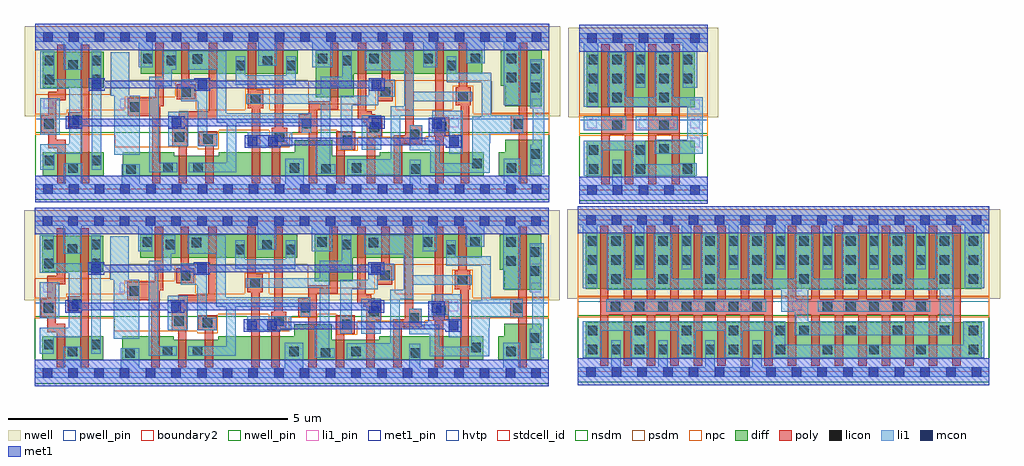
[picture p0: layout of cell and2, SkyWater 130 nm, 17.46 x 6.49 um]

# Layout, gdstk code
import gdstk
lib = gdstk.Library(unit=1e-6, precision=1e-09)
def R(c, l, rs):  # rectangles x0, y0, x1, y1
    for r in rs: c.add(gdstk.rectangle(r[:2], r[2:], *l))
def A(c, l, x, y, w, h, nx, ny, dx, dy):  # array of equal rectangles
    R(c, l, [(x+i*dx, y+j*dy, x+i*dx+w, y+j*dy+h) for i in range(nx) for j in range(ny)])
def P(c, l, *ps):  # polygons
    for p in ps: c.add(gdstk.Polygon(p, *l))
nwell_pin = (64, 16)
nwell = (64, 20)
diff = (65, 20)
poly = (66, 20)
licon = (66, 44)
li1_pin = (67, 16)
li1 = (67, 20)
mcon = (67, 44)
met1_pin = (68, 16)
met1 = (68, 20)
hvtp = (78, 44)
stdcell_id = (81, 4)
nsdm = (93, 44)
psdm = (94, 20)
npc = (95, 20)
pwell_pin = (122, 16)
boundary2 = (236, 0)

sky130_fd_sc_hd__nand2_2 = lib.new_cell('sky130_fd_sc_hd__nand2_2')
R(sky130_fd_sc_hd__nand2_2, nwell_pin, [(0.15,2.635,0.32,2.805)])
R(sky130_fd_sc_hd__nand2_2, nwell, [(-0.19,1.305,2.49,2.91)])
R(sky130_fd_sc_hd__nand2_2, diff, [(0.135,0.235,2.065,0.885), (0.135,1.485,2.065,2.485)])
P(sky130_fd_sc_hd__nand2_2, poly, [(1.805,2.615),(1.655,2.615),(1.655,1.325),(1.385,1.325),(1.385,2.615),(1.235,2.615),(1.235,0.105),(1.385,0.105),(1.385,0.995),(1.655,0.995),(1.655,0.105),(1.805,0.105)],
  [(0.965,2.615),(0.815,2.615),(0.815,1.325),(0.545,1.325),(0.545,2.615),(0.395,2.615),(0.395,0.105),(0.545,0.105),(0.545,0.995),(0.815,0.995),(0.815,0.105),(0.965,0.105)])
A(sky130_fd_sc_hd__nand2_2, licon, 0.175, 0.295, 0.17, 0.17, 3, 1, 0.42, 0)
A(sky130_fd_sc_hd__nand2_2, licon, 0.175, 1.915, 0.17, 0.17, 5, 2, 0.42, 0.34)
R(sky130_fd_sc_hd__nand2_2, licon, [(1.855,0.295,2.025,0.465), (0.175,0.635,0.345,0.805), (1.015,0.635,1.185,0.805), (1.435,0.655,1.605,0.825), (0.595,1.075,0.765,1.245), (1.435,1.075,1.605,1.245), (0.175,1.575,0.345,1.745), (0.595,1.575,0.765,1.745), (1.435,1.575,1.605,1.745)])
A(sky130_fd_sc_hd__nand2_2, li1_pin, 0.15, 1.105, 0.17, 0.17, 5, 1, 0.46, 0)
R(sky130_fd_sc_hd__nand2_2, li1_pin, [(1.99,0.765,2.16,0.935), (1.99,1.445,2.16,1.615)])
R(sky130_fd_sc_hd__nand2_2, li1, [(0.085,1.075,0.845,1.325), (1.015,1.075,1.765,1.325)])
P(sky130_fd_sc_hd__nand2_2, li1, [(2.3,0.085),(0.765,0.085),(0.765,0.545),(0.595,0.545),(0.595,0.085),(0,0.085),(0,-0.085),(2.3,-0.085)],
  [(2.3,2.805),(0,2.805),(0,2.635),(0.085,2.635),(0.085,1.495),(0.345,1.495),(0.345,2.635),(1.015,2.635),(1.015,1.835),(1.185,1.835),(1.185,2.635),(1.855,2.635),(1.855,1.835),(2.11,1.835),(2.11,2.635),(2.3,2.635)],
  [(2.105,0.485),(1.775,0.485),(1.775,0.465),(1.185,0.465),(1.185,0.885),(0.085,0.885),(0.085,0.255),(0.425,0.255),(0.425,0.715),(0.935,0.715),(0.935,0.255),(2.105,0.255)],
  [(2.215,1.665),(1.685,1.665),(1.685,2.465),(1.355,2.465),(1.355,1.665),(0.845,1.665),(0.845,2.465),(0.515,2.465),(0.515,1.495),(1.935,1.495),(1.935,0.905),(1.355,0.905),(1.355,0.655),(2.215,0.655)])
A(sky130_fd_sc_hd__nand2_2, mcon, 0.145, -0.085, 0.17, 0.17, 5, 2, 0.46, 2.72)
R(sky130_fd_sc_hd__nand2_2, met1_pin, [(0.15,-0.085,0.32,0.085), (0.15,2.635,0.32,2.805)])
R(sky130_fd_sc_hd__nand2_2, hvtp, [(0,1.25,2.3,2.72)])
R(sky130_fd_sc_hd__nand2_2, stdcell_id, [(0,0,2.3,2.72)])
R(sky130_fd_sc_hd__nand2_2, nsdm, [(0,-0.19,2.3,1.015)])
R(sky130_fd_sc_hd__nand2_2, psdm, [(0,1.355,2.3,2.91)])
R(sky130_fd_sc_hd__nand2_2, npc, [(0,0.975,2.3,1.345)])
R(sky130_fd_sc_hd__nand2_2, pwell_pin, [(0.15,-0.085,0.32,0.085)])
R(sky130_fd_sc_hd__nand2_2, boundary2, [(0,0,2.3,2.72)])
sky130_fd_sc_hd__nand2_2.add(gdstk.FlexPath([(0,2.72),(2.3,2.72)], 0.48, ends="flush", simple_path=True, layer=68, datatype=20))  # met1
sky130_fd_sc_hd__nand2_2.add(gdstk.FlexPath([(0,0),(2.3,0)], 0.48, ends="flush", simple_path=True, layer=68, datatype=20))  # met1
sky130_fd_sc_hd__nand2_2.add(gdstk.Label('Y', (2.075,0.85), layer=67, texttype=5))
sky130_fd_sc_hd__nand2_2.add(gdstk.Label('Y', (2.075,1.19), layer=67, texttype=5))
sky130_fd_sc_hd__nand2_2.add(gdstk.Label('Y', (2.075,1.53), layer=67, texttype=5))
sky130_fd_sc_hd__nand2_2.add(gdstk.Label('A', (1.615,1.19), layer=67, texttype=5))
sky130_fd_sc_hd__nand2_2.add(gdstk.Label('B', (0.695,1.19), layer=67, texttype=5))
sky130_fd_sc_hd__nand2_2.add(gdstk.Label('VPB', (0.23,2.72), layer=64, texttype=5))
sky130_fd_sc_hd__nand2_2.add(gdstk.Label('VNB', (0.23,0), layer=64, texttype=59))
sky130_fd_sc_hd__nand2_2.add(gdstk.Label('VGND', (0.23,0), layer=68, texttype=5))
sky130_fd_sc_hd__nand2_2.add(gdstk.Label('VPWR', (0.23,2.72), layer=68, texttype=5))
sky130_fd_sc_hd__nand2_2.add(gdstk.Label('nand2_2', (0,0), layer=83, texttype=44))

sky130_fd_sc_hd__nand2_8 = lib.new_cell('sky130_fd_sc_hd__nand2_8')
R(sky130_fd_sc_hd__nand2_8, nwell_pin, [(0.15,2.635,0.32,2.805)])
R(sky130_fd_sc_hd__nand2_8, nwell, [(-0.19,1.305,7.55,2.91)])
R(sky130_fd_sc_hd__nand2_8, diff, [(0.135,0.235,7.225,0.885), (0.135,1.485,7.225,2.485)])
P(sky130_fd_sc_hd__nand2_8, poly, [(3.485,2.615),(3.335,2.615),(3.335,1.295),(3.065,1.295),(3.065,2.615),(2.915,2.615),(2.915,1.295),(2.645,1.295),(2.645,2.615),(2.495,2.615),(2.495,1.295),(2.225,1.295),(2.225,2.615),(2.075,2.615),(2.075,1.295),(1.805,1.295),(1.805,2.615),(1.655,2.615),(1.655,1.295),(1.385,1.295),(1.385,2.615),(1.235,2.615),(1.235,1.295),(0.965,1.295),(0.965,2.615),(0.815,2.615),(0.815,1.295),(0.545,1.295),(0.545,2.615),(0.395,2.615),(0.395,0.105),(0.545,0.105),(0.545,1.025),(0.815,1.025),(0.815,0.105),(0.965,0.105),(0.965,1.025),(1.235,1.025),(1.235,0.105),(1.385,0.105),(1.385,1.025),(1.655,1.025),(1.655,0.105),(1.805,0.105),(1.805,1.025),(2.075,1.025),(2.075,0.105),(2.225,0.105),(2.225,1.025),(2.495,1.025),(2.495,0.105),(2.645,0.105),(2.645,1.025),(2.915,1.025),(2.915,0.105),(3.065,0.105),(3.065,1.025),(3.335,1.025),(3.335,0.105),(3.485,0.105)],
  [(6.845,2.615),(6.695,2.615),(6.695,1.295),(6.425,1.295),(6.425,2.615),(6.275,2.615),(6.275,1.295),(6.005,1.295),(6.005,2.615),(5.855,2.615),(5.855,1.295),(5.585,1.295),(5.585,2.615),(5.435,2.615),(5.435,1.295),(5.165,1.295),(5.165,2.615),(5.015,2.615),(5.015,1.295),(4.745,1.295),(4.745,2.615),(4.595,2.615),(4.595,1.295),(4.325,1.295),(4.325,2.615),(4.175,2.615),(4.175,1.295),(3.905,1.295),(3.905,2.615),(3.755,2.615),(3.755,0.105),(3.905,0.105),(3.905,1.025),(4.175,1.025),(4.175,0.105),(4.325,0.105),(4.325,1.025),(4.595,1.025),(4.595,0.105),(4.745,0.105),(4.745,1.025),(5.015,1.025),(5.015,0.105),(5.165,0.105),(5.165,1.025),(5.435,1.025),(5.435,0.105),(5.585,0.105),(5.585,1.025),(5.855,1.025),(5.855,0.105),(6.005,0.105),(6.005,1.025),(6.275,1.025),(6.275,0.105),(6.425,0.105),(6.425,1.025),(6.695,1.025),(6.695,0.105),(6.845,0.105)])
A(sky130_fd_sc_hd__nand2_8, licon, 0.175, 0.315, 0.17, 0.17, 9, 1, 0.42, 0)
A(sky130_fd_sc_hd__nand2_8, licon, 4.375, 0.315, 0.17, 0.17, 3, 1, 0.84, 0)
A(sky130_fd_sc_hd__nand2_8, licon, 0.175, 0.655, 0.17, 0.17, 5, 1, 0.84, 0)
A(sky130_fd_sc_hd__nand2_8, licon, 3.955, 0.655, 0.17, 0.17, 4, 1, 0.84, 0)
A(sky130_fd_sc_hd__nand2_8, licon, 1.015, 1.075, 0.17, 0.17, 6, 1, 0.42, 0)
A(sky130_fd_sc_hd__nand2_8, licon, 4.375, 1.075, 0.17, 0.17, 5, 1, 0.42, 0)
A(sky130_fd_sc_hd__nand2_8, licon, 0.595, 1.575, 0.17, 0.17, 8, 1, 0.84, 0)
A(sky130_fd_sc_hd__nand2_8, licon, 6.995, 1.575, 0.17, 0.17, 1, 3, 0, 0.34)
A(sky130_fd_sc_hd__nand2_8, licon, 0.175, 1.915, 0.17, 0.17, 16, 2, 0.42, 0.34)
R(sky130_fd_sc_hd__nand2_8, licon, [(6.995,0.315,7.165,0.485), (6.995,0.655,7.165,0.825), (0.59,1.075,0.76,1.245), (0.175,1.575,0.345,1.745)])
A(sky130_fd_sc_hd__nand2_8, li1_pin, 0.61, 1.105, 0.17, 0.17, 6, 1, 0.46, 0)
A(sky130_fd_sc_hd__nand2_8, li1_pin, 3.83, 1.105, 0.17, 0.17, 6, 1, 0.46, 0)
R(sky130_fd_sc_hd__nand2_8, li1_pin, [(3.83,1.445,4,1.615)])
R(sky130_fd_sc_hd__nand2_8, li1, [(0.51,1.075,3.365,1.295), (4.29,1.075,6.305,1.275)])
P(sky130_fd_sc_hd__nand2_8, li1, [(6.725,2.465),(6.475,2.465),(6.475,0.905),(4.12,0.905),(4.12,1.465),(6.475,1.465),(6.475,2.465),(6.395,2.465),(6.395,1.665),(5.885,1.665),(5.885,2.465),(5.555,2.465),(5.555,1.665),(5.045,1.665),(5.045,2.465),(4.715,2.465),(4.715,1.665),(4.205,1.665),(4.205,2.465),(3.875,2.465),(3.875,1.665),(3.365,1.665),(3.365,2.465),(3.035,2.465),(3.035,1.665),(2.525,1.665),(2.525,2.465),(2.195,2.465),(2.195,1.665),(1.685,1.665),(1.685,2.465),(1.355,2.465),(1.355,1.665),(0.845,1.665),(0.845,2.465),(0.515,2.465),(0.515,1.465),(3.64,1.465),(3.64,1.075),(3.875,1.075),(3.875,0.655),(6.725,0.655)],
  [(7.27,0.905),(6.895,0.905),(6.895,0.485),(3.705,0.485),(3.705,0.905),(0.09,0.905),(0.09,0.255),(0.425,0.255),(0.425,0.735),(0.935,0.735),(0.935,0.255),(1.265,0.255),(1.265,0.735),(1.775,0.735),(1.775,0.255),(2.105,0.255),(2.105,0.735),(2.615,0.735),(2.615,0.255),(2.945,0.255),(2.945,0.735),(3.455,0.735),(3.455,0.255),(7.27,0.255)],
  [(7.36,2.805),(0,2.805),(0,2.635),(0.09,2.635),(0.09,1.495),(0.345,1.495),(0.345,2.635),(1.015,2.635),(1.015,1.835),(1.185,1.835),(1.185,2.635),(1.855,2.635),(1.855,1.835),(2.025,1.835),(2.025,2.635),(2.695,2.635),(2.695,1.835),(2.865,1.835),(2.865,2.635),(3.535,2.635),(3.535,1.835),(3.705,1.835),(3.705,2.635),(4.375,2.635),(4.375,1.835),(4.545,1.835),(4.545,2.635),(5.215,2.635),(5.215,1.835),(5.385,1.835),(5.385,2.635),(6.055,2.635),(6.055,1.835),(6.225,1.835),(6.225,2.635),(6.915,2.635),(6.915,1.495),(7.27,1.495),(7.27,2.635),(7.36,2.635)],
  [(7.36,0.085),(3.285,0.085),(3.285,0.565),(3.115,0.565),(3.115,0.085),(2.445,0.085),(2.445,0.565),(2.275,0.565),(2.275,0.085),(1.605,0.085),(1.605,0.565),(1.435,0.565),(1.435,0.085),(0.765,0.085),(0.765,0.565),(0.595,0.565),(0.595,0.085),(0,0.085),(0,-0.085),(7.36,-0.085)])
A(sky130_fd_sc_hd__nand2_8, mcon, 0.145, -0.085, 0.17, 0.17, 16, 2, 0.46, 2.72)
R(sky130_fd_sc_hd__nand2_8, met1_pin, [(0.15,-0.085,0.32,0.085), (0.15,2.635,0.32,2.805)])
R(sky130_fd_sc_hd__nand2_8, hvtp, [(0,1.25,7.36,2.72)])
R(sky130_fd_sc_hd__nand2_8, stdcell_id, [(0,0,7.36,2.72)])
R(sky130_fd_sc_hd__nand2_8, nsdm, [(0,-0.19,7.36,1.015)])
R(sky130_fd_sc_hd__nand2_8, psdm, [(0,1.355,7.36,2.91)])
R(sky130_fd_sc_hd__nand2_8, npc, [(0,0.975,7.36,1.345)])
R(sky130_fd_sc_hd__nand2_8, pwell_pin, [(0.15,-0.085,0.32,0.085)])
R(sky130_fd_sc_hd__nand2_8, boundary2, [(0,0,7.36,2.72)])
sky130_fd_sc_hd__nand2_8.add(gdstk.FlexPath([(0,2.72),(7.36,2.72)], 0.48, ends="flush", simple_path=True, layer=68, datatype=20))  # met1
sky130_fd_sc_hd__nand2_8.add(gdstk.FlexPath([(0,0),(7.36,0)], 0.48, ends="flush", simple_path=True, layer=68, datatype=20))  # met1
sky130_fd_sc_hd__nand2_8.add(gdstk.Label('A', (5.295,1.19), layer=67, texttype=5))
sky130_fd_sc_hd__nand2_8.add(gdstk.Label('A', (4.835,1.19), layer=67, texttype=5))
sky130_fd_sc_hd__nand2_8.add(gdstk.Label('A', (4.375,1.19), layer=67, texttype=5))
sky130_fd_sc_hd__nand2_8.add(gdstk.Label('B', (2.995,1.19), layer=67, texttype=5))
sky130_fd_sc_hd__nand2_8.add(gdstk.Label('B', (1.155,1.19), layer=67, texttype=5))
sky130_fd_sc_hd__nand2_8.add(gdstk.Label('B', (0.695,1.19), layer=67, texttype=5))
sky130_fd_sc_hd__nand2_8.add(gdstk.Label('Y', (3.915,1.53), layer=67, texttype=5))
sky130_fd_sc_hd__nand2_8.add(gdstk.Label('Y', (3.915,1.19), layer=67, texttype=5))
sky130_fd_sc_hd__nand2_8.add(gdstk.Label('A', (6.215,1.19), layer=67, texttype=5))
sky130_fd_sc_hd__nand2_8.add(gdstk.Label('A', (5.755,1.19), layer=67, texttype=5))
sky130_fd_sc_hd__nand2_8.add(gdstk.Label('B', (2.535,1.19), layer=67, texttype=5))
sky130_fd_sc_hd__nand2_8.add(gdstk.Label('B', (2.075,1.19), layer=67, texttype=5))
sky130_fd_sc_hd__nand2_8.add(gdstk.Label('B', (1.615,1.19), layer=67, texttype=5))
sky130_fd_sc_hd__nand2_8.add(gdstk.Label('VNB', (0.235,0), layer=64, texttype=59))
sky130_fd_sc_hd__nand2_8.add(gdstk.Label('VPB', (0.235,2.72), layer=64, texttype=5))
sky130_fd_sc_hd__nand2_8.add(gdstk.Label('VGND', (0.235,0), layer=68, texttype=5))
sky130_fd_sc_hd__nand2_8.add(gdstk.Label('VPWR', (0.235,2.72), layer=68, texttype=5))
sky130_fd_sc_hd__nand2_8.add(gdstk.Label('nand2_8', (0,0), layer=83, texttype=44))

sky130_fd_sc_hd__dfrtp_1 = lib.new_cell('sky130_fd_sc_hd__dfrtp_1')
R(sky130_fd_sc_hd__dfrtp_1, nwell_pin, [(0.145,2.635,0.315,2.805)])
R(sky130_fd_sc_hd__dfrtp_1, nwell, [(-0.19,1.305,9.39,2.91)])
R(sky130_fd_sc_hd__dfrtp_1, diff, [(0.135,0.235,1.225,0.655), (0.135,1.815,1.225,2.455), (3.305,2.065,4.7,2.485)])
P(sky130_fd_sc_hd__dfrtp_1, diff, [(8,2.485),(5.015,2.485),(5.015,1.645),(5.695,1.645),(5.695,2.065),(8,2.065)],
  [(9.065,2.485),(8.325,2.485),(8.325,1.845),(8.405,1.845),(8.405,1.485),(9.065,1.485)],
  [(9.065,0.885),(8.405,0.885),(8.405,0.655),(8.295,0.655),(8.295,0.235),(9.065,0.235)],
  [(8.025,0.655),(6.165,0.655),(6.165,0.595),(5.315,0.595),(5.315,0.875),(4.645,0.875),(4.645,0.655),(3.285,0.655),(3.285,0.595),(2.49,0.595),(2.49,0.655),(1.565,0.655),(1.565,0.235),(8.025,0.235)],
  [(3.335,2.485),(1.89,2.485),(1.89,2.065),(3.33,2.065),(3.33,2.48),(3.335,2.48)])
R(sky130_fd_sc_hd__dfrtp_1, poly, [(3.875,0.105,4.025,1.515), (4.29,1.055,4.44,2.615), (3.805,1.445,4.08,1.775), (3.805,1.76,3.955,2.615)])
P(sky130_fd_sc_hd__dfrtp_1, poly, [(7.79,1.825),(7.73,1.825),(7.73,2.615),(7.58,2.615),(7.58,1.825),(7.52,1.825),(7.52,1.495),(7.615,1.495),(7.615,0.105),(7.765,0.105),(7.765,1.495),(7.79,1.495)],
  [(0.545,0.88),(0.38,0.88),(0.38,1.59),(0.545,1.59),(0.545,2.585),(0.395,2.585),(0.395,1.74),(0.23,1.74),(0.23,1.325),(0.11,1.325),(0.11,0.995),(0.23,0.995),(0.23,0.73),(0.395,0.73),(0.395,0.105),(0.545,0.105)],
  [(0.965,2.585),(0.815,2.585),(0.815,1.37),(0.59,1.37),(0.59,1.1),(0.815,1.1),(0.815,0.105),(0.965,0.105)],
  [(2.3,2.615),(2.15,2.615),(2.15,1.63),(1.655,1.63),(1.655,1.3),(2.09,1.3),(2.09,0.105),(2.24,0.105),(2.24,1.48),(2.3,1.48)],
  [(3.255,2.615),(3.105,2.615),(3.105,1.395),(2.565,1.395),(2.565,1.095),(2.45,1.095),(2.45,0.765),(2.565,0.765),(2.565,0.105),(2.715,0.105),(2.715,0.765),(2.72,0.765),(2.72,1.245),(3.255,1.245)],
  [(2.86,1.875),(2.76,1.875),(2.76,2.615),(2.61,2.615),(2.61,1.875),(2.53,1.875),(2.53,1.605),(2.86,1.605)],
  [(3.26,1.035),(2.93,1.035),(2.93,0.765),(3.045,0.765),(3.045,0.105),(3.195,0.105),(3.195,0.765),(3.26,0.765)],
  [(4.505,1.095),(4.235,1.095),(4.235,0.105),(4.385,0.105),(4.385,0.765),(4.505,0.765)],
  [(5.425,2.615),(5.275,2.615),(5.275,1.57),(4.895,1.57),(4.895,1.335),(4.715,1.335),(4.715,1.005),(4.895,1.005),(4.895,0.105),(5.045,0.105),(5.045,1.42),(5.425,1.42)],
  [(5.725,1.035),(5.39,1.035),(5.39,0.105),(5.54,0.105),(5.54,0.705),(5.725,0.705)],
  [(6.205,1.275),(6.085,1.275),(6.085,1.335),(6.02,1.335),(6.02,1.395),(5.92,1.395),(5.92,2.615),(5.77,2.615),(5.77,1.245),(5.875,1.245),(5.875,1.185),(5.935,1.185),(5.935,0.105),(6.085,0.105),(6.085,0.945),(6.205,0.945)],
  [(6.4,1.905),(6.35,1.905),(6.35,2.615),(6.2,2.615),(6.2,1.905),(6.13,1.905),(6.13,1.575),(6.4,1.575)],
  [(6.925,1.145),(6.77,1.145),(6.77,2.615),(6.62,2.615),(6.62,0.965),(6.415,0.965),(6.415,0.105),(6.565,0.105),(6.565,0.815),(6.925,0.815)],
  [(7.405,1.285),(7.31,1.285),(7.31,2.615),(7.16,2.615),(7.16,1.285),(7.135,1.285),(7.135,0.955),(7.16,0.955),(7.16,0.105),(7.31,0.105),(7.31,0.955),(7.405,0.955)],
  [(8.805,2.615),(8.655,2.615),(8.655,1.325),(8.51,1.325),(8.51,0.995),(8.655,0.995),(8.655,0.105),(8.805,0.105)])
R(sky130_fd_sc_hd__dfrtp_1, licon, [(1.625,0.275,1.795,0.445), (5.115,0.275,5.285,0.445), (6.725,0.275,6.895,0.445), (0.595,0.295,0.765,0.465), (4.555,0.295,4.725,0.465), (5.665,0.295,5.835,0.465), (8.435,0.295,8.605,0.465), (2.29,0.305,2.46,0.475), (2.825,0.305,2.995,0.475), (7.815,0.375,7.985,0.545), (0.175,0.425,0.345,0.595), (1.015,0.425,1.185,0.595), (8.855,0.545,9.025,0.715), (5.505,0.785,5.675,0.955), (3.01,0.815,3.18,0.985), (2.5,0.845,2.67,1.015), (4.285,0.845,4.455,1.015), (6.705,0.895,6.875,1.065), (5.985,1.025,6.155,1.195), (7.185,1.035,7.355,1.205), (0.16,1.075,0.33,1.245), (8.56,1.075,8.73,1.245), (4.765,1.085,4.935,1.255), (0.67,1.15,0.84,1.32), (1.705,1.38,1.875,1.55), (3.855,1.525,4.025,1.695), (7.57,1.575,7.74,1.745), (2.61,1.655,2.78,1.825), (6.18,1.655,6.35,1.825), (8.855,1.735,9.025,1.905), (0.175,1.875,0.345,2.045), (1.015,1.875,1.185,2.045), (8.435,1.915,8.605,2.085), (8.855,2.075,9.025,2.245), (3.585,2.125,3.755,2.295), (4.49,2.125,4.66,2.295), (7.36,2.125,7.53,2.295), (0.595,2.135,0.765,2.305), (4.07,2.205,4.24,2.375), (0.175,2.215,0.345,2.385), (1.015,2.215,1.185,2.385), (2.35,2.215,2.52,2.385), (5.495,2.215,5.665,2.385), (2.815,2.245,2.985,2.415), (5.98,2.25,6.15,2.42), (1.93,2.255,2.1,2.425), (5.055,2.255,5.225,2.425), (6.94,2.255,7.11,2.425), (7.79,2.255,7.96,2.425), (8.435,2.255,8.605,2.425)])
A(sky130_fd_sc_hd__dfrtp_1, li1_pin, 8.88, 1.445, 0.17, 0.17, 1, 3, 0, 0.34)
R(sky130_fd_sc_hd__dfrtp_1, li1_pin, [(8.88,0.425,9.05,0.595), (7.405,0.765,7.575,0.935), (0.15,1.105,0.32,1.275), (7.405,1.105,7.575,1.275), (0.15,1.445,0.32,1.615), (1.525,1.445,1.695,1.615)])
R(sky130_fd_sc_hd__dfrtp_1, li1, [(0,-0.085,9.2,0.085), (1.545,-0.03,1.875,0.445), (8.38,0.05,8.685,0.545), (4.475,0.055,4.805,0.545), (0.515,0.06,0.845,0.465), (6.705,0.065,6.895,0.525), (1.015,0.345,1.185,2.465), (1.415,0.615,1.875,1.665), (5.845,0.705,6.195,1.325), (2.385,0.765,2.735,1.385), (3.805,0.765,4.595,1.015), (0.09,0.975,0.44,1.625), (8.38,1.495,8.685,2.71), (3.775,1.525,5.13,1.695), (1.355,1.665,1.68,2.45), (0.515,2.135,0.845,2.665), (4.955,2.175,5.325,2.675), (6.94,2.175,7.19,2.69), (3.99,2.205,4.32,2.69), (7.71,2.255,8.04,2.7)])
P(sky130_fd_sc_hd__dfrtp_1, li1, [(0.84,1.965),(0.345,1.965),(0.345,2.465),(0.09,2.465),(0.09,1.795),(0.61,1.795),(0.61,0.805),(0.09,0.805),(0.09,0.345),(0.345,0.345),(0.345,0.635),(0.84,0.635)],
  [(2.54,0.475),(2.215,0.475),(2.215,1.835),(2.44,1.835),(2.44,2.135),(2.52,2.135),(2.52,2.465),(2.27,2.465),(2.27,2.005),(2.045,2.005),(2.045,0.305),(2.54,0.305)],
  [(3.26,0.985),(3.075,0.985),(3.075,1.965),(2.61,1.965),(2.61,1.575),(2.905,1.575),(2.905,0.765),(3.26,0.765)],
  [(4.935,1.355),(3.415,1.355),(3.415,2.465),(2.735,2.465),(2.735,2.135),(3.245,2.135),(3.245,1.185),(3.43,1.185),(3.43,0.475),(2.745,0.475),(2.745,0.305),(3.6,0.305),(3.6,1.185),(4.765,1.185),(4.765,1.005),(4.935,1.005)],
  [(9.11,2.325),(8.855,2.325),(8.855,1.445),(8.9,1.445),(8.9,0.795),(8.855,0.795),(8.855,0.265),(9.11,0.265)],
  [(5.665,2.465),(5.495,2.465),(5.495,2.005),(5.105,2.005),(5.105,0.835),(5.015,0.835),(5.015,0.275),(5.365,0.275),(5.365,0.445),(5.275,0.445),(5.275,1.835),(5.665,1.835)],
  [(6.43,1.955),(5.97,1.955),(5.97,1.665),(5.465,1.665),(5.465,0.705),(5.675,0.705),(5.675,1.495),(6.14,1.495),(6.14,1.655),(6.43,1.655)],
  [(7.645,1.405),(7.105,1.405),(7.105,1.035),(7.405,1.035),(7.405,0.635),(7.645,0.635)],
  [(7.82,1.745),(6.77,1.745),(6.77,2.465),(5.9,2.465),(5.9,2.125),(6.6,2.125),(6.6,1.485),(6.365,1.485),(6.365,0.535),(5.585,0.535),(5.585,0.255),(6.535,0.255),(6.535,1.315),(6.77,1.315),(6.77,1.575),(7.82,1.575)],
  [(9.2,2.805),(0,2.805),(0,2.635),(1.85,2.635),(1.85,2.175),(2.1,2.175),(2.1,2.635),(9.2,2.635)],
  [(8.73,1.325),(8.16,1.325),(8.16,2.085),(7.53,2.085),(7.53,2.375),(7.36,2.375),(7.36,1.915),(7.99,1.915),(7.99,1.295),(7.815,1.295),(7.815,0.465),(7.235,0.465),(7.235,0.865),(6.925,0.865),(6.925,1.145),(6.705,1.145),(6.705,0.695),(7.065,0.695),(7.065,0.295),(8.135,0.295),(8.135,0.82),(8.14,0.82),(8.14,0.995),(8.73,0.995)],
  [(4.66,2.375),(4.49,2.375),(4.49,2.035),(3.755,2.035),(3.755,2.375),(3.585,2.375),(3.585,1.865),(4.66,1.865)])
A(sky130_fd_sc_hd__dfrtp_1, mcon, 0.145, -0.085, 0.17, 0.17, 20, 2, 0.46, 2.72)
R(sky130_fd_sc_hd__dfrtp_1, mcon, [(3.805,0.765,3.975,0.935), (4.165,0.765,4.335,0.935), (7.405,0.765,7.575,0.935), (7.105,1.08,7.275,1.25), (0.61,1.105,0.78,1.275), (2.445,1.105,2.615,1.275), (6.025,1.105,6.195,1.275), (1.015,1.785,1.185,1.955), (2.905,1.785,3.075,1.955), (6.025,1.785,6.195,1.955)])
R(sky130_fd_sc_hd__dfrtp_1, met1_pin, [(0.145,-0.085,0.315,0.085), (0.145,2.635,0.315,2.805)])
R(sky130_fd_sc_hd__dfrtp_1, met1, [(7.045,0.91,7.335,1.28), (0.55,1.075,0.84,1.305), (5.965,1.075,6.255,1.305), (0.955,1.755,1.245,1.985), (5.965,1.755,6.255,1.985)])
P(sky130_fd_sc_hd__dfrtp_1, met1, [(7.635,0.965),(7.335,0.965),(7.335,0.92),(4.395,0.92),(4.395,0.965),(3.745,0.965),(3.745,0.735),(4.395,0.735),(4.395,0.78),(7.345,0.78),(7.345,0.735),(7.635,0.735)],
  [(6.075,1.94),(3.135,1.94),(3.135,1.985),(2.845,1.985),(2.845,1.94),(1.185,1.94),(1.185,1.8),(2.845,1.8),(2.845,1.755),(3.135,1.755),(3.135,1.8),(6.075,1.8)],
  [(6.045,1.26),(2.675,1.26),(2.675,1.305),(2.385,1.305),(2.385,1.26),(0.82,1.26),(0.82,1.12),(2.385,1.12),(2.385,1.075),(2.675,1.075),(2.675,1.12),(6.045,1.12)])
R(sky130_fd_sc_hd__dfrtp_1, hvtp, [(0,1.25,9.2,2.72)])
R(sky130_fd_sc_hd__dfrtp_1, stdcell_id, [(0,0,9.2,2.72)])
R(sky130_fd_sc_hd__dfrtp_1, nsdm, [(0,-0.19,9.2,1.015)])
P(sky130_fd_sc_hd__dfrtp_1, psdm, [(9.2,2.91),(0,2.91),(0,1.685),(1.35,1.685),(1.35,1.935),(4.885,1.935),(4.885,1.515),(5.825,1.515),(5.825,1.935),(8.155,1.935),(8.155,1.355),(9.2,1.355)])
R(sky130_fd_sc_hd__dfrtp_1, npc, [(3.755,1.365,4.195,1.795)])
P(sky130_fd_sc_hd__dfrtp_1, npc, [(9.2,1.345),(7.84,1.345),(7.84,1.845),(7.47,1.845),(7.47,1.42),(6.45,1.42),(6.45,1.925),(6.08,1.925),(6.08,1.42),(2.88,1.42),(2.88,1.925),(2.51,1.925),(2.51,1.65),(1.6,1.65),(1.6,1.42),(0.565,1.42),(0.565,1.345),(0,1.345),(0,0.975),(1.425,0.975),(1.425,0.745),(2.91,0.745),(2.91,0.715),(3.28,0.715),(3.28,1.05),(4.185,1.05),(4.185,0.745),(4.555,0.745),(4.555,0.985),(5.055,0.985),(5.055,1.05),(5.405,1.05),(5.405,0.685),(5.775,0.685),(5.775,0.925),(6.605,0.925),(6.605,0.795),(6.975,0.795),(6.975,0.935),(7.455,0.935),(7.455,0.975),(9.2,0.975)])
R(sky130_fd_sc_hd__dfrtp_1, pwell_pin, [(0.145,-0.085,0.315,0.085)])
R(sky130_fd_sc_hd__dfrtp_1, boundary2, [(0,0,9.2,2.72)])
sky130_fd_sc_hd__dfrtp_1.add(gdstk.FlexPath([(0,0),(9.2,0)], 0.48, ends="flush", simple_path=True, layer=68, datatype=20))  # met1
sky130_fd_sc_hd__dfrtp_1.add(gdstk.FlexPath([(0,2.72),(9.2,2.72)], 0.48, ends="flush", simple_path=True, layer=68, datatype=20))  # met1
sky130_fd_sc_hd__dfrtp_1.add(gdstk.Label('Q', (8.965,2.21), layer=67, texttype=5))
sky130_fd_sc_hd__dfrtp_1.add(gdstk.Label('Q', (8.965,1.87), layer=67, texttype=5))
sky130_fd_sc_hd__dfrtp_1.add(gdstk.Label('Q', (8.965,1.53), layer=67, texttype=5))
sky130_fd_sc_hd__dfrtp_1.add(gdstk.Label('Q', (8.965,0.51), layer=67, texttype=5))
sky130_fd_sc_hd__dfrtp_1.add(gdstk.Label('RESET_B', (7.49,0.85), layer=67, texttype=5))
sky130_fd_sc_hd__dfrtp_1.add(gdstk.Label('D', (1.61,1.53), layer=67, texttype=5))
sky130_fd_sc_hd__dfrtp_1.add(gdstk.Label('CLK', (0.235,1.53), layer=67, texttype=5))
sky130_fd_sc_hd__dfrtp_1.add(gdstk.Label('CLK', (0.235,1.19), layer=67, texttype=5))
sky130_fd_sc_hd__dfrtp_1.add(gdstk.Label('RESET_B', (7.49,1.19), layer=67, texttype=5))
sky130_fd_sc_hd__dfrtp_1.add(gdstk.Label('VGND', (0.23,0), layer=68, texttype=5))
sky130_fd_sc_hd__dfrtp_1.add(gdstk.Label('VPWR', (0.23,2.72), layer=68, texttype=5))
sky130_fd_sc_hd__dfrtp_1.add(gdstk.Label('VPB', (0.23,2.72), layer=64, texttype=5))
sky130_fd_sc_hd__dfrtp_1.add(gdstk.Label('VNB', (0.23,0), layer=64, texttype=59))
sky130_fd_sc_hd__dfrtp_1.add(gdstk.Label('dfrtp_1', (0,0), layer=83, texttype=44))

and2 = lib.new_cell('and2')
and2.add(gdstk.Reference(sky130_fd_sc_hd__nand2_2, (9.54,-0.26)))
and2.add(gdstk.Reference(sky130_fd_sc_hd__nand2_8, (9.52,-3.51)))
and2.add(gdstk.Reference(sky130_fd_sc_hd__dfrtp_1, (-0.2,-3.53)))
and2.add(gdstk.Reference(sky130_fd_sc_hd__dfrtp_1, (-0.19,-0.24)))

lib.write_gds('and2.gds')
